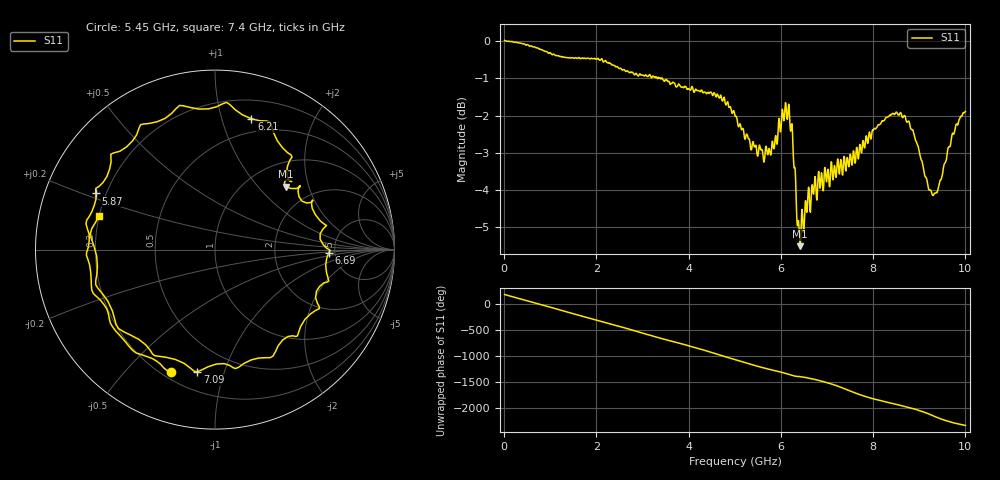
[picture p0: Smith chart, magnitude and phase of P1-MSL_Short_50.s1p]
! 2/19/2018 12:53:41 PM
! E:\STEPPED_EXPERIMENT_2018-02-19\P1-MSL_SHORT_50.S1P
! CHANNEL.1
! TR.MEASUREMENT
! CORRECTED.DATA
! Decimated for TDR Painter validation: every 10th frequency point (10 MHz steps), values unchanged.
# GHZ S RI R 50.0
! FREQ.GHZ  S11RE  S11IM
!; PortSelection: Port_1
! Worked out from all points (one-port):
!   1000 points, 10 MHz to 10 GHz, reference 50 ohm
!   lowest |S11| = -5.5 dB at 6.42 GHz (marker M1), VSWR 3.25, Z = 74 + j72.1 ohm
!   |S11| at or under -10 dB: nowhere
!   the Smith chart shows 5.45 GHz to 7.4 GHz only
!   S11 on the Smith chart (normalised r, x): 5.45 GHz: 0.24, -0.68; 5.87 GHz: 0.16, +0.22; 6.21 GHz: 0.37, +1.25; 6.69 GHz: 4.44, -0.29; 7.09 GHz: 0.32, -0.82; 7.4 GHz: 0.20, +0.14
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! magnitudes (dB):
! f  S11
! 10 MHz  0.0
! 1.26 GHz  -0.4
! 2.51 GHz  -0.7
! 3.76 GHz  -1.2
! 4.66 GHz  -1.5
! 5.01 GHz  -2.0
! 5.45 GHz  -2.8
! 5.67 GHz  -2.8
! 5.87 GHz  -2.7
! 6.07 GHz  -2.1
! 6.14 GHz  -2.1
! 6.21 GHz  -2.4
! 6.26 GHz  -2.8
! 6.38 GHz  -4.8
! 6.42 GHz  -5.5
! 6.69 GHz  -4.0
! 7.09 GHz  -3.2
! 7.4 GHz  -3.5
! 7.51 GHz  -3.1
! 8.32 GHz  -2.0
! 8.55 GHz  -2.0
! 8.76 GHz  -2.2
! 8.94 GHz  -2.7
! 9.18 GHz  -3.8
! 9.33 GHz  -4.1
! 9.44 GHz  -3.8
! 9.76 GHz  -2.5
! 10 GHz  -1.9
